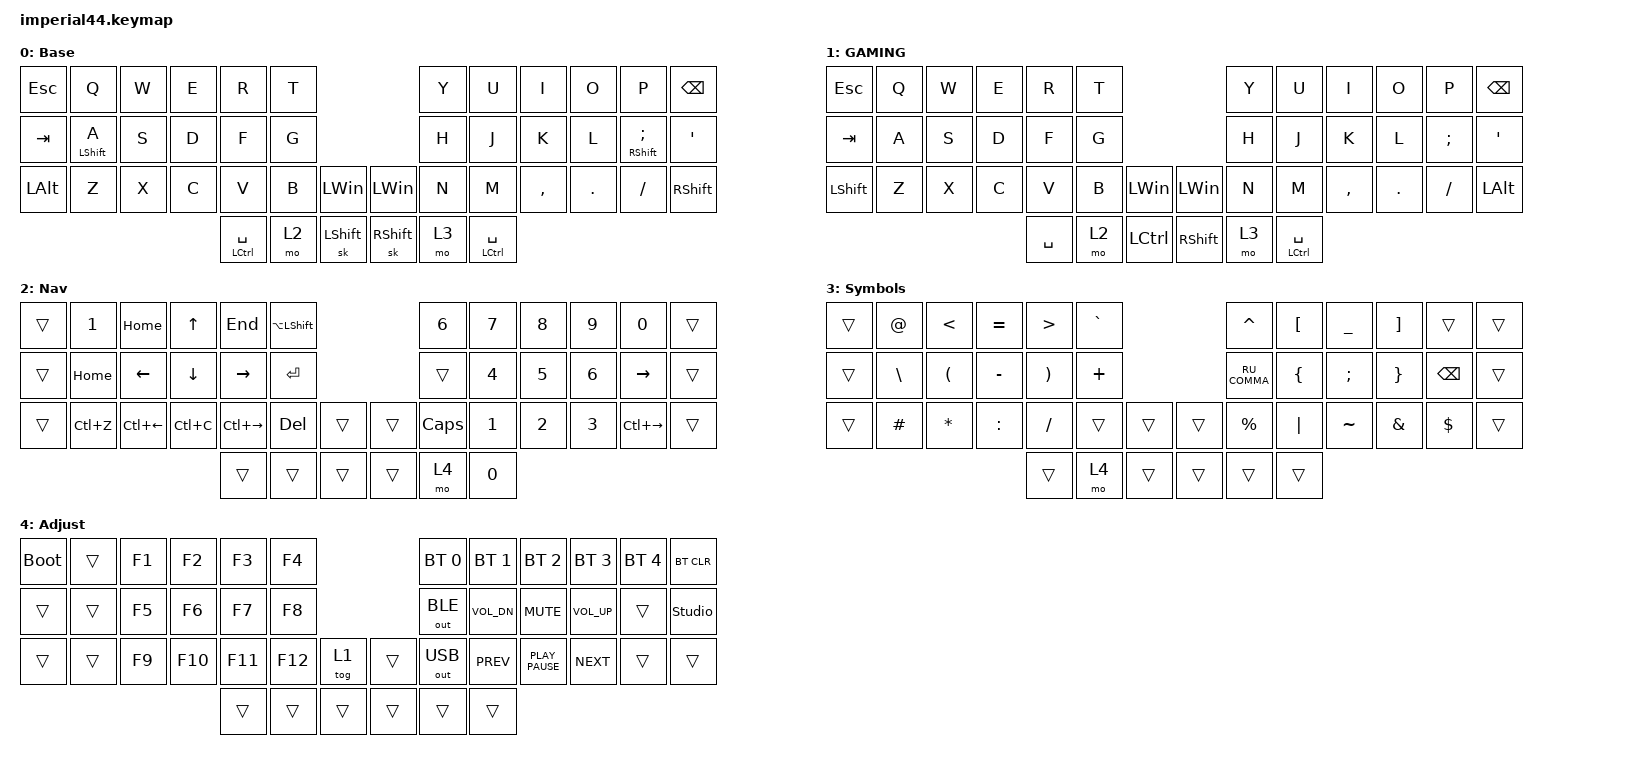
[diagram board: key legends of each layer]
#include "keys_ru.h"
#include <behaviors.dtsi>
#include <dt-bindings/zmk/bt.h>
#include <dt-bindings/zmk/keys.h>
#include <dt-bindings/zmk/outputs.h>

&mt { flavor = "balanced"; };

&sk { quick-release; };

/ {
    behaviors {
        mt_l: mt_l {
            compatible = "zmk,behavior-hold-tap";
            label = "MT_L";
            bindings = <&kp>, <&kp>;

            #binding-cells = <2>;
            tapping-term-ms = <220>;
            require-prior-idle-ms = <130>;
            flavor = "balanced";
            hold-trigger-key-positions = <6 7 8 9 10 18 19 20 21 22 32 33 34 35 36 23>;
        };

        mt_r: mt_r {
            compatible = "zmk,behavior-hold-tap";
            label = "MT_R";
            bindings = <&kp>, <&kp>;

            #binding-cells = <2>;
            tapping-term-ms = <220>;
            require-prior-idle-ms = <130>;
            flavor = "balanced";
            hold-trigger-key-positions = <1 2 3 4 5 13 14 15 16 17 25 26 27 28 29>;
        };
    };

    keymap {
        compatible = "zmk,keymap";

        base {
            bindings = <
&kp ESC       &kp Q               &kp W  &kp E  &kp R            &kp T                                     &kp Y  &kp U            &kp I      &kp O    &kp P                        &kp BACKSPACE
&kp TAB       &mt_l LEFT_SHIFT A  &kp S  &kp D  &kp F            &kp G                                     &kp H  &kp J            &kp K      &kp L    &mt_r RIGHT_SHIFT SEMICOLON  &kp SINGLE_QUOTE
&kp LEFT_ALT  &kp Z               &kp X  &kp C  &kp V            &kp B  &kp LEFT_WIN      &kp LEFT_WIN     &kp N  &kp M            &kp COMMA  &kp DOT  &kp SLASH                    &kp RSHFT
                                                &mt LCTRL SPACE  &mo 2  &sk LEFT_SHIFT    &sk RIGHT_SHIFT  &mo 3  &mt LCTRL SPACE
            >;

            display-name = "Base";
        };

        GAMING {
            display-name = "GAMING";
            bindings = <
&kp ESC         &kp Q  &kp W  &kp E  &kp R      &kp T                                       &kp Y  &kp U            &kp I      &kp O    &kp P      &kp BACKSPACE
&kp TAB         &kp A  &kp S  &kp D  &kp F      &kp G                                       &kp H  &kp J            &kp K      &kp L    &kp SEMI   &kp SINGLE_QUOTE
&kp LEFT_SHIFT  &kp Z  &kp X  &kp C  &kp V      &kp B  &kp LEFT_WIN        &kp LEFT_WIN     &kp N  &kp M            &kp COMMA  &kp DOT  &kp SLASH  &kp LEFT_ALT
                                     &kp SPACE  &mo 2  &kp LEFT_CONTROL    &kp RIGHT_SHIFT  &mo 3  &mt LCTRL SPACE
            >;
        };

        nav {
            bindings = <
&trans  &kp N1     &kp HOME      &kp UP     &kp END        &kp LA(LEFT_SHIFT)                    &kp N6        &kp N7  &kp N8        &kp N9  &kp N0         &trans
&trans  &kp HOME   &kp LEFT      &kp DOWN   &kp RIGHT      &kp ENTER                             &trans        &kp N4  &kp NUMBER_5  &kp N6  &kp RIGHT      &trans
&trans  &kp LC(Z)  &kp LC(LEFT)  &kp LC(C)  &kp LC(RIGHT)  &kp DELETE          &trans    &trans  &kp CAPSLOCK  &kp N1  &kp NUMBER_2  &kp N3  &kp LC(RIGHT)  &trans
                                            &trans         &trans              &trans    &trans  &mo 4         &kp N0
            >;

            display-name = "Nav";
        };

        sym {
            bindings = <
&trans  &kp AT    &kp LT    &kp EQUAL  &kp GT    &kp GRAVE                    &kp CARET     &kp LBKT  &kp UNDER  &kp RBKT  &trans         &trans
&trans  &kp BSLH  &kp LPAR  &kp MINUS  &kp RPAR  &kp PLUS                     &kp RU_COMMA  &kp LBRC  &kp SEMI   &kp RBRC  &kp BACKSPACE  &trans
&trans  &kp HASH  &kp STAR  &kp COLON  &kp FSLH  &trans     &trans    &trans  &kp PERCENT   &kp PIPE  &kp TILDE  &kp AMPS  &kp DLLR       &trans
                                       &trans    &mo 4      &trans    &trans  &trans        &trans
            >;

            display-name = "Symbols";
        };

        adj {
            bindings = <
&bootloader  &trans  &kp F1  &kp F2   &kp F3   &kp F4                     &bt BT_SEL 0  &bt BT_SEL 1  &bt BT_SEL 2      &bt BT_SEL 3  &bt BT_SEL 4  &bt BT_CLR
&trans       &trans  &kp F5  &kp F6   &kp F7   &kp F8                     &out OUT_BLE  &kp C_VOL_DN  &kp K_MUTE        &kp C_VOL_UP  &trans        &studio_unlock
&trans       &trans  &kp F9  &kp F10  &kp F11  &kp F12  &tog 1    &trans  &out OUT_USB  &kp K_PREV    &kp K_PLAY_PAUSE  &kp K_NEXT    &trans        &trans
                                      &trans   &trans   &trans    &trans  &trans        &trans
            >;

            display-name = "Adjust";
        };
    };
};
